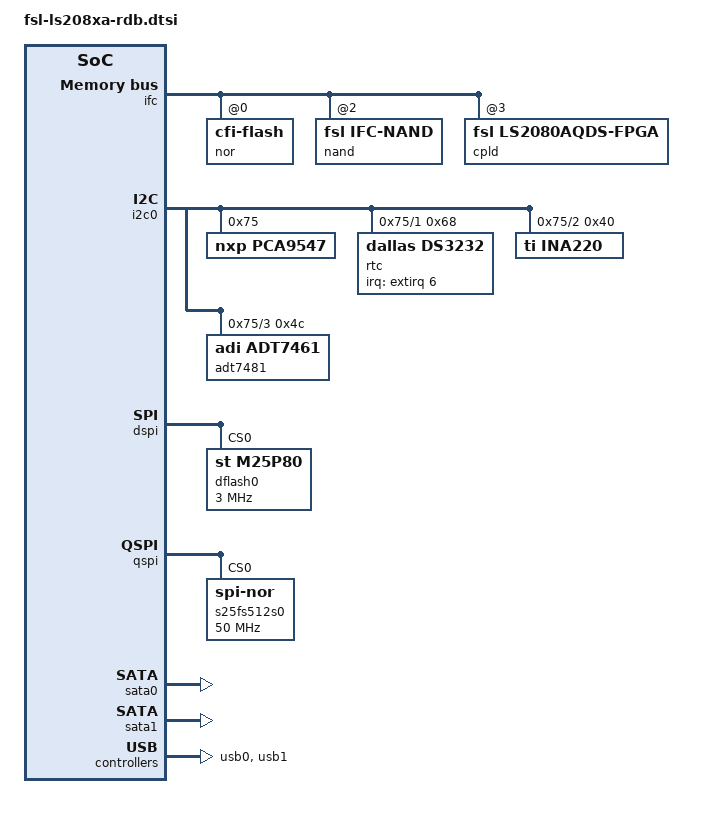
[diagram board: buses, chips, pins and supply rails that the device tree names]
FASTVC-BENCH-CORPUS:linux-main-100k-v1-e0bd41dc-8e12-4f1b-978d-a3645ae59da0
/* bench 13577.1.0 61f9c1817ec1 */
/* bench 13577.1.1 a4d9a43aa6ef */
/* bench 13577.1.2 628b53e3b170 */
/* bench 13577.1.3 116551e19a2a */
/* bench 13577.1.4 d001cfe27504 */
/* bench 13577.1.5 a2f12b281207 */
/* bench 13577.1.6 8d0c5dd2dd77 */
/* bench 13577.1.7 d9bdc28faf7b */
// SPDX-License-Identifier: (GPL-2.0+ OR MIT)
/*
 * Device Tree file for Freescale LS2080A RDB Board.
 *
 * Copyright 2016 Freescale Semiconductor, Inc.
 * Copyright 2017-2020 NXP
 *
 * Abhimanyu Saini <abhimanyu.saini@nxp.com>
 *
 */

&esdhc {
	status = "okay";
};

&ifc {
	status = "okay";
	#address-cells = <2>;
	#size-cells = <1>;
	ranges = <0x0 0x0 0x5 0x80000000 0x08000000
		  0x2 0x0 0x5 0x30000000 0x00010000
		  0x3 0x0 0x5 0x20000000 0x00010000>;

	nor@0,0 {
		#address-cells = <1>;
		#size-cells = <1>;
		compatible = "cfi-flash";
		reg = <0x0 0x0 0x8000000>;
		bank-width = <2>;
		device-width = <1>;
	};

	nand@2,0 {
	     compatible = "fsl,ifc-nand";
	     reg = <0x2 0x0 0x10000>;
	};

	cpld@3,0 {
	     reg = <0x3 0x0 0x10000>;
	     compatible = "fsl,ls2080aqds-fpga", "fsl,fpga-qixis";
	};

};

&i2c0 {
	status = "okay";
	pca9547@75 {
		compatible = "nxp,pca9547";
		reg = <0x75>;
		#address-cells = <1>;
		#size-cells = <0>;
		i2c@1 {
			#address-cells = <1>;
			#size-cells = <0>;
			reg = <0x01>;
			rtc@68 {
				compatible = "dallas,ds3232";
				reg = <0x68>;
				/* IRQ_RTC_B -> IRQ06, active low */
				interrupts-extended = <&extirq 6 IRQ_TYPE_LEVEL_LOW>;
			};
		};

		i2c@2 {
			#address-cells = <1>;
			#size-cells = <0>;
			reg = <0x02>;

			ina220@40 {
/* bench 7187.3.0 0d085de68557 */
/* bench 7187.3.1 eabf627456db */
/* bench 7187.3.2 6ee114862c99 */
/* bench 7187.3.3 d82ccc862afe */
/* bench 7187.3.4 22578a4e3055 */
/* bench 7187.3.5 183728585c3a */
/* bench 7187.3.6 09a060756989 */
				compatible = "ti,ina220";
				reg = <0x40>;
				shunt-resistor = <500>;
			};
		};

		i2c@3 {
			#address-cells = <1>;
			#size-cells = <0>;
			reg = <0x3>;

			adt7481@4c {
				compatible = "adi,adt7461";
				reg = <0x4c>;
			};
		};
	};
};

&i2c1 {
	status = "disabled";
};

&i2c2 {
	status = "disabled";
};

&i2c3 {
	status = "disabled";
};

&dspi {
	status = "okay";
	dflash0: n25q512a@0 {
		#address-cells = <1>;
		#size-cells = <1>;
		compatible = "st,m25p80";
		spi-max-frequency = <3000000>;
		reg = <0>;
	};
};

&qspi {
	status = "okay";

	s25fs512s0: flash@0 {
		#address-cells = <1>;
		#size-cells = <1>;
		compatible = "jedec,spi-nor";
		spi-max-frequency = <50000000>;
		reg = <0>;
	};
};

&sata0 {
	status = "okay";
};

&sata1 {
	status = "okay";
};

&usb0 {
	status = "okay";
};

&usb1 {
	status = "okay";
};
